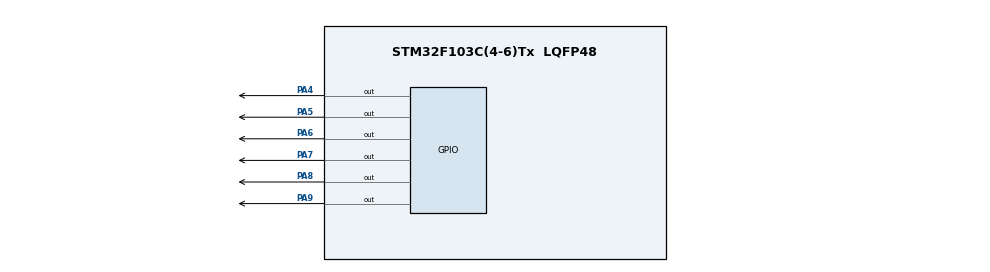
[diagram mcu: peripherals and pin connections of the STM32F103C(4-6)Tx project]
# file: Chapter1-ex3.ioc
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Mcu.Family=STM32F1
Mcu.Name=STM32F103C(4-6)Tx
Mcu.Package=LQFP48
NVIC.PriorityGroup=NVIC_PRIORITYGROUP_4
PA4.Signal=GPIO_Output
PA5.Signal=GPIO_Output
PA6.Signal=GPIO_Output
PA7.Signal=GPIO_Output
PA8.Signal=GPIO_Output
PA9.Signal=GPIO_Output
ProjectManager.HeapSize=0x200
ProjectManager.StackSize=0x400
ProjectManager.TargetToolchain=STM32CubeIDE
RCC.APB1Freq_Value=8000000
RCC.APB2Freq_Value=8000000
VP_SYS_VS_ND.Mode=No_Debug
board=custom

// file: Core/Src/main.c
/* USER CODE BEGIN Header */
/**
  ******************************************************************************
  * @file           : main.c
  * @brief          : Main program body
  ******************************************************************************
  * @attention
  *
  * <h2><center>&copy; Copyright (c) 2021 STMicroelectronics.
  * All rights reserved.</center></h2>
  *
  * This software component is licensed by ST under BSD 3-Clause license,
  * the "License"; You may not use this file except in compliance with the
  * License. You may obtain a copy of the License at:
  *                        opensource.org/licenses/BSD-3-Clause
  *
  ******************************************************************************
  */
/* USER CODE END Header */
#include "main.h"

void SystemClock_Config(void);
static void MX_GPIO_Init(void);

int main(void)
{

  /* MCU Configuration--------------------------------------------------------*/

  /* Reset of all peripherals, Initializes the Flash interface and the Systick. */
  HAL_Init();

  /* Configure the system clock */
  SystemClock_Config();

  /* Initialize all configured peripherals */
  MX_GPIO_Init();

  /* Infinite loop */
  /* USER CODE BEGIN WHILE */
  while (1)
  {
	  for(int i = 9; i >= 0; i--) {
		  HAL_GPIO_WritePin(GPIOA, GPIO_PIN_4 | GPIO_PIN_5 | GPIO_PIN_6 | GPIO_PIN_7 | GPIO_PIN_8 | GPIO_PIN_9, 1);
		  if(i >= 5) {
			  HAL_GPIO_WritePin(GPIOA, GPIO_PIN_4, 0); // RV
		  }
		  else if(i >= 2 && i < 5) {
			  HAL_GPIO_WritePin(GPIOA, GPIO_PIN_6, 0); // GV
		  }
		  else {
			  HAL_GPIO_WritePin(GPIOA, GPIO_PIN_5, 0); // YV
		  }

		  if(i >= 7) {
			  HAL_GPIO_WritePin(GPIOA, GPIO_PIN_9, 0); // GH
		  }
		  else if(i >= 5 && i < 7) {
			  HAL_GPIO_WritePin(GPIOA, GPIO_PIN_8, 0); // YH
		  }
		  else {
			  HAL_GPIO_WritePin(GPIOA, GPIO_PIN_7, 0); // RH
		  }

		  HAL_Delay(250);
	  }

    /* USER CODE END WHILE */

  }
}

void SystemClock_Config(void)
{
  RCC_OscInitTypeDef RCC_OscInitStruct = {0};
  RCC_ClkInitTypeDef RCC_ClkInitStruct = {0};

  /** Initializes the RCC Oscillators according to the specified parameters
  * in the RCC_OscInitTypeDef structure.
  */
  RCC_OscInitStruct.OscillatorType = RCC_OSCILLATORTYPE_HSI;
  RCC_OscInitStruct.HSIState = RCC_HSI_ON;
  RCC_OscInitStruct.HSICalibrationValue = RCC_HSICALIBRATION_DEFAULT;
  RCC_OscInitStruct.PLL.PLLState = RCC_PLL_NONE;
  if (HAL_RCC_OscConfig(&RCC_OscInitStruct) != HAL_OK)
  {
    Error_Handler();
  }
  /** Initializes the CPU, AHB and APB buses clocks
  */
  RCC_ClkInitStruct.ClockType = RCC_CLOCKTYPE_HCLK|RCC_CLOCKTYPE_SYSCLK
                              |RCC_CLOCKTYPE_PCLK1|RCC_CLOCKTYPE_PCLK2;
  RCC_ClkInitStruct.SYSCLKSource = RCC_SYSCLKSOURCE_HSI;
  RCC_ClkInitStruct.AHBCLKDivider = RCC_SYSCLK_DIV1;
  RCC_ClkInitStruct.APB1CLKDivider = RCC_HCLK_DIV1;
  RCC_ClkInitStruct.APB2CLKDivider = RCC_HCLK_DIV1;

  if (HAL_RCC_ClockConfig(&RCC_ClkInitStruct, FLASH_LATENCY_0) != HAL_OK)
  {
    Error_Handler();
  }
}

static void MX_GPIO_Init(void)
{
  GPIO_InitTypeDef GPIO_InitStruct = {0};

  /* GPIO Ports Clock Enable */
  __HAL_RCC_GPIOA_CLK_ENABLE();

  /*Configure GPIO pin Output Level */
  HAL_GPIO_WritePin(GPIOA, GPIO_PIN_4|GPIO_PIN_5|GPIO_PIN_6|GPIO_PIN_7
                          |GPIO_PIN_8|GPIO_PIN_9, GPIO_PIN_RESET);

  /*Configure GPIO pins : PA4 PA5 PA6 PA7
                           PA8 PA9 */
  GPIO_InitStruct.Pin = GPIO_PIN_4|GPIO_PIN_5|GPIO_PIN_6|GPIO_PIN_7
                          |GPIO_PIN_8|GPIO_PIN_9;
  GPIO_InitStruct.Mode = GPIO_MODE_OUTPUT_PP;
  GPIO_InitStruct.Pull = GPIO_NOPULL;
  GPIO_InitStruct.Speed = GPIO_SPEED_FREQ_LOW;
  HAL_GPIO_Init(GPIOA, &GPIO_InitStruct);

}

void Error_Handler(void)
{
  __disable_irq();
  while (1)
  {
  }
}

/************************ (C) COPYRIGHT STMicroelectronics *****END OF FILE****/
